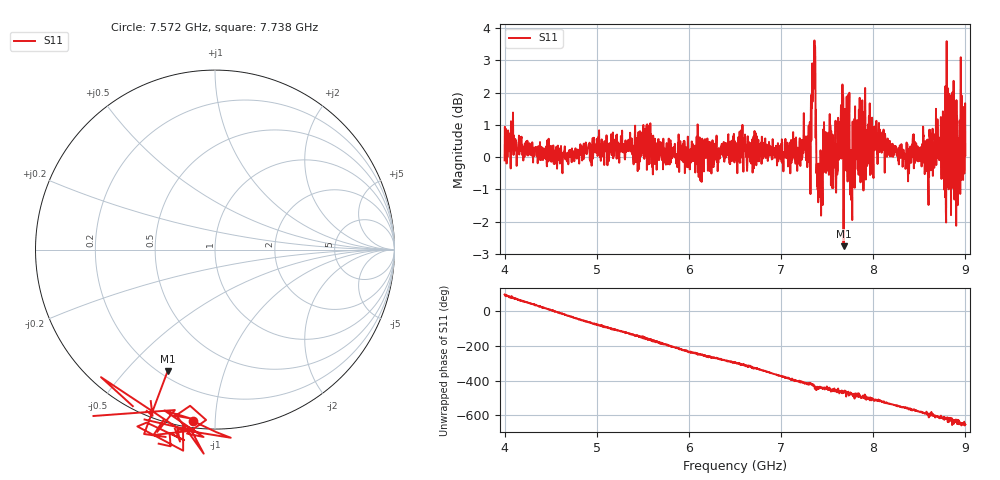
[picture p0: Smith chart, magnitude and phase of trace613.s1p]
! Created with skrf 1.8.0 (http://scikit-rf.org).
# Hz S RI R 50.0
!freq ReS11 ImS11
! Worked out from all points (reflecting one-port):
!   1601 points, 4 GHz to 9 GHz, reference 50 ohm
!   lowest |S11| = -2.8 dB at 7.678 GHz (marker M1), VSWR 6.35, Z = 11.4 - j32.9 ohm
!   phase of S11 starts at 94 deg and turns -746 deg over the sweep
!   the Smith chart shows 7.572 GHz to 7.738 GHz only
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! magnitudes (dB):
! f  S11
! 4 GHz  -0.1
! 4.625 GHz  -0.4
! 5.25 GHz  0.3
! 5.875 GHz  -0.3
! 6.5 GHz  0.1
! 7.125 GHz  0.1
! 7.294 GHz  0.2
! 7.347 GHz  2.7
! 7.362 GHz  3.6
! 7.409 GHz  -0.2
! 7.478 GHz  0.4
! 7.588 GHz  0.4
! 7.65 GHz  1.6
! 7.678 GHz  -2.8
! 7.75 GHz  -1.2
! 7.769 GHz  -0.5
! 7.828 GHz  0.6
! 8.038 GHz  0.4
! 8.375 GHz  -0.3
! 8.522 GHz  0.3
! 8.581 GHz  -0.1
! 8.712 GHz  0.1
! 8.766 GHz  1.3
! 8.819 GHz  -1.0
! 8.844 GHz  -1.8
! 8.919 GHz  -0.2
! 8.959 GHz  1.9
! 9 GHz  0.1
